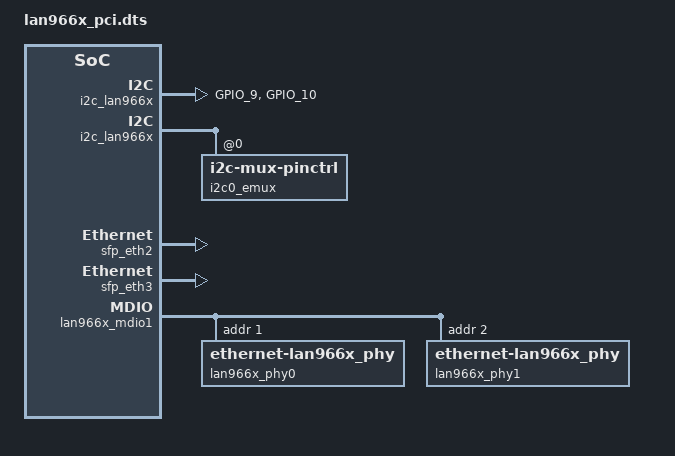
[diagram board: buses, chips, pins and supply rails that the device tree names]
// SPDX-License-Identifier: GPL-2.0
/*
 * Copyright (C) 2022 Microchip UNG
 */

#include <dt-bindings/clock/microchip,lan966x.h>
#include <dt-bindings/mfd/atmel-flexcom.h>
#include <dt-bindings/phy/phy-lan966x-serdes.h>
#include <dt-bindings/gpio/gpio.h>

/dts-v1/;
/plugin/;

&{/pcidev} {
	compatible = "simple-bus";
	#address-cells = <1>;
	#size-cells = <1>;

	itc: itc {
		#interrupt-cells = <1>;
		interrupt-controller;
		interrupt-parent = <&itc>;
	};

	cpu_clk: cpu_clk {
		compatible = "fixed-clock";
		#clock-cells = <0>;
		clock-frequency = <600000000>;  // CPU clock = 600MHz
	};

	fabric_clk: fabric_clk {
		compatible = "fixed-clock";
		#clock-cells = <0>;
		clock-frequency = <30000000>;  // Fabric clock = 30MHz
	};

	sys_clk: sys_clk {
		compatible = "fixed-clock";
		#clock-cells = <0>;
		clock-frequency = <15625000>;  // System clock = 15.625MHz
	};

	nic_clk: nic_clk {
		compatible = "fixed-clock";
		#clock-cells = <0>;
		clock-frequency = <200000000>;  // NIC clock = 200MHz
	};

	clks: clock-controller@e00c00a8 {
		compatible = "microchip,lan966x-gck";
		#clock-cells = <1>;
		clocks = <&cpu_clk>, <&fabric_clk>, <&sys_clk>;
		reg = <0xe00c00a8 0x00000038>, <0xe00c02cc 0x4>;
	};

	cpu_ctrl: syscon@e00c0000 {
		compatible = "microchip,lan966x-cpu-syscon", "syscon";
		reg = <0xe00c0000 0x00000350>;
	};

	switch_ctrl: syscon@e200400c {
		compatible = "microchip,lan966x-switch-syscon", "syscon";
		reg = <0xe2004000 0x4>;
	};

	chip_ctrl: syscon@e2010000 {
		compatible = "microchip,lan966x-chip-syscon", "syscon";
		reg = <0xe2010010 0xe2010010>;
	};

	switch_reset: switch_reset@0 {
		compatible = "microchip,lan966x-switch-reset";
		#reset-cells = <1>;
		cpu-syscon = <&cpu_ctrl>;
		switch-syscon = <&switch_ctrl>;
		chip-syscon = <&chip_ctrl>;
	};

	lan966x_gpio: pinctrl@e2004070 {
		compatible = "microchip,lan966x-pinctrl";
		reg = <0xe2004064 0x000000b4>, <0xe2010024 0x00000138>;
		gpio-controller;
		#gpio-cells = <2>;
		gpio-ranges = <&lan966x_gpio 0 0 78>;
		interrupt-parent = <&itc>;
		interrupt-controller;
		interrupts = <17>;
		#interrupt-cells = <1>;

		tod_pins: tod_pins {
			pins = "GPIO_36";
			function = "ptpsync_1";
		};

		fc0_a_rx_pins: fc0-a-rx-pins {
			pins = "GPIO_9";
			function = "fc0_a";
		};

		fc0_a_tx_pins: fc0-a-tx-pins {
			pins = "GPIO_10";
			function = "fc0_a";
		};

		i2cmux_pins: i2cmux-pins {
			pins = "GPIO_76", "GPIO_77";
			function = "twi_slc_gate";
			output-low;
		};

		i2cmux_0: i2cmux-0 {
			pins = "GPIO_76";
			function = "twi_slc_gate";
			output-high;
		};

		i2cmux_1: i2cmux-1 {
			pins = "GPIO_77";
			function = "twi_slc_gate";
			output-high;
		};
	};

	flx0: flexcom@e0070000 {
		compatible = "atmel,sama5d2-flexcom";
		reg = <0xe0040000 0x00000100>;
		clocks = <&fabric_clk>;
		#address-cells = <1>;
		#size-cells = <1>;
		ranges = <0x0 0xe0040000 0x800>;

		atmel,flexcom-mode = <ATMEL_FLEXCOM_MODE_TWI>;

		i2c_lan966x: i2c@600 {
			compatible = "microchip,sam9x60-i2c";
			reg = <0x600 0x200>;
			interrupt-parent = <&itc>;
			interrupts = <48>;
			#address-cells = <1>;
			#size-cells = <0>;
			clocks = <&nic_clk>;
			pinctrl-0 = <&fc0_a_rx_pins>, <&fc0_a_tx_pins>;
			pinctrl-names = "default";
			i2c-analog-filter;
			i2c-digital-filter;
			i2c-digital-filter-width-ns = <35>;
			i2c-sda-hold-time-ns = <1500>;
		};
	};

	i2c0_emux: i2c0-emux@0 {
		compatible = "i2c-mux-pinctrl";
		#address-cells = <1>;
		#size-cells = <0>;
		i2c-parent = <&i2c_lan966x>;
		pinctrl-names = "i2c102", "i2c103", "idle";
		pinctrl-0 = <&i2cmux_0>;
		pinctrl-1 = <&i2cmux_1>;
		pinctrl-2 = <&i2cmux_pins>;

		i2c102: i2c_sfp1 {
			reg = <0>;
			#address-cells = <1>;
			#size-cells = <0>;
		};

		i2c103: i2c_sfp2 {
			reg = <1>;
			#address-cells = <1>;
			#size-cells = <0>;
		};
	};

	sfp_eth2: sfp-eth2 {
		compatible       = "sff,sfp";
		i2c-bus          = <&i2c102>;
		tx-disable-gpios = <&lan966x_gpio  0 GPIO_ACTIVE_HIGH>;
		los-gpios        = <&lan966x_gpio 25 GPIO_ACTIVE_HIGH>;
		mod-def0-gpios   = <&lan966x_gpio 18 GPIO_ACTIVE_LOW>;
		tx-fault-gpios   = <&lan966x_gpio  2 GPIO_ACTIVE_HIGH>;
	};

	sfp_eth3: sfp-eth3 {
		compatible       = "sff,sfp";
		i2c-bus          = <&i2c103>;
		tx-disable-gpios = <&lan966x_gpio  1 GPIO_ACTIVE_HIGH>;
		los-gpios        = <&lan966x_gpio 26 GPIO_ACTIVE_HIGH>;
		mod-def0-gpios   = <&lan966x_gpio 19 GPIO_ACTIVE_LOW>;
		tx-fault-gpios   = <&lan966x_gpio  3 GPIO_ACTIVE_HIGH>;
	};

	hsio: syscon@710d0000 {
		compatible = "microchip,lan966x-hsio", "syscon", "simple-mfd";
		reg = <0xe202c000 0x0000009c>;

		serdes: serdes {
			compatible = "microchip,lan966x-serdes";
			#phy-cells = <2>;
		};
	};

	lan966x_mdio1: mdio@413c {
		#address-cells = <1>;
		#size-cells = <0>;
		compatible = "mscc,ocelot-miim";
		reg = <0xe200413c 0x00000024>;

		resets = <&switch_reset 0>;
		reset-names = "switch";

		lan966x_phy0: ethernet-lan966x_phy@1 {
			reg = <1>;
		};

		lan966x_phy1: ethernet-lan966x_phy@2 {
			reg = <2>;
		};
	};

	lan966x_switch: switch@0 {
		compatible = "microchip,lan966x-switch";
		reg = <0x00000000 0x0100000>,
		      <0x02000000 0x0800000>;
		reg-names = "cpu", "gcb";

		interrupt-parent = <&itc>;
		interrupts = <10 11 12 9>;
		interrupt-names = "ptp-sync", "ptp", "xtr", "ana";

		resets = <&switch_reset 0>;
		reset-names = "switch";

		pinctrl-names = "default";
		pinctrl-0 = <&tod_pins>;

		ethernet-ports {
			#address-cells = <1>;
			#size-cells = <0>;

			port0: port@0 {
				phy-handle = <&lan966x_phy0>;

				reg = <0>;
				phy-mode = "gmii";
				phys = <&serdes 0 CU(0)>;

				#address-cells = <1>;
				#size-cells = <0>;

				delay0 {
					reg = <0>;
					speed = <1000>;
					rx_delay = <0x25000>;
					tx_delay = <0x25000>;
				};

				delay1 {
					reg = <0>;
					speed = <100>;
					rx_delay = <0x8f050>;
					tx_delay = <0x8f050>;
				};

				delay2 {
					reg = <0>;
					speed = <10>;
					rx_delay = <0x4b8000>;
					tx_delay = <0x4b8000>;
				};
			};

			port1: port@1 {
				phy-handle = <&lan966x_phy1>;

				reg = <1>;
				phy-mode = "gmii";
				phys = <&serdes 1 CU(1)>;

				#address-cells = <1>;
				#size-cells = <0>;

				delay0 {
					reg = <0>;
					speed = <1000>;
					rx_delay = <0x25000>;
					tx_delay = <0x25000>;
				};

				delay1 {
					reg = <0>;
					speed = <100>;
					rx_delay = <0x8f050>;
					tx_delay = <0x8f050>;
				};

				delay2 {
					reg = <0>;
					speed = <10>;
					rx_delay = <0x4b8000>;
					tx_delay = <0x4b8000>;
				};
			};

			port2: port@2 {
				reg = <2>;
				phy-mode = "sgmii";
				phys = <&serdes 2 SERDES6G(0)>;
				sfp = <&sfp_eth2>;
				managed = "in-band-status";

				#address-cells = <1>;
				#size-cells = <0>;

				delay0 {
					reg = <0>;
					speed = <1000>;
					rx_delay = <0x25000>;
					tx_delay = <0x25000>;
				};

				delay1 {
					reg = <0>;
					speed = <100>;
					rx_delay = <0x8f050>;
					tx_delay = <0x8f050>;
				};

				delay2 {
					reg = <0>;
					speed = <10>;
					rx_delay = <0x4b8000>;
					tx_delay = <0x4b8000>;
				};
			};

			port3: port@3 {
				reg = <3>;
				phy-mode = "sgmii";
				phys = <&serdes 3 SERDES6G(1)>;
				sfp = <&sfp_eth3>;
				managed = "in-band-status";

				#address-cells = <1>;
				#size-cells = <0>;

				delay0 {
					reg = <0>;
					speed = <1000>;
					rx_delay = <0x25000>;
					tx_delay = <0x25000>;
				};

				delay1 {
					reg = <0>;
					speed = <100>;
					rx_delay = <0x8f050>;
					tx_delay = <0x8f050>;
				};

				delay2 {
					reg = <0>;
					speed = <10>;
					rx_delay = <0x4b8000>;
					tx_delay = <0x4b8000>;
				};
			};
		};
	};
};
